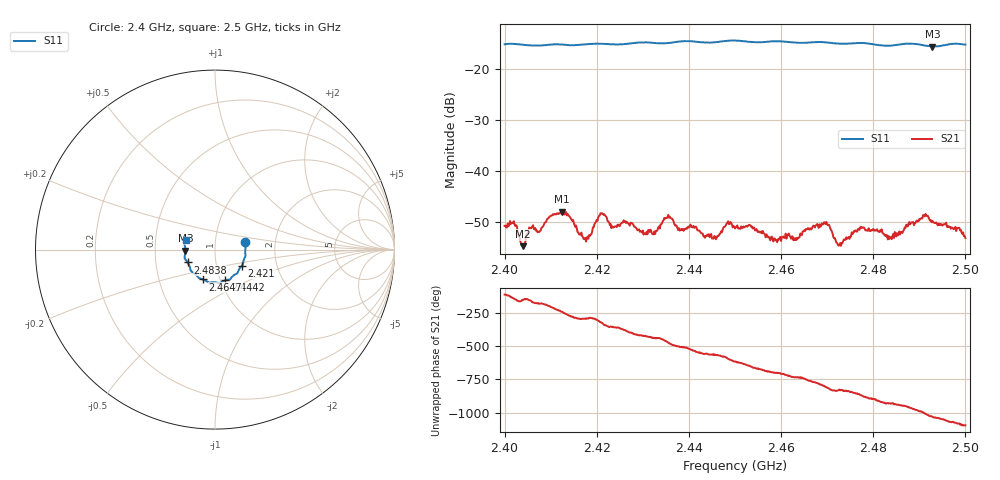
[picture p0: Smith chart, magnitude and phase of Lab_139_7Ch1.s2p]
# Hz S RI R 50
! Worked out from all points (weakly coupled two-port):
!   601 points, 2.4 GHz to 2.5 GHz, reference 50 ohm
!   highest |S21| = -48.05 dB at 2.4125 GHz (marker M1); lowest = -54.8 dB at 2.404 GHz (marker M2)
!   lowest |S11| = -15.6 dB at 2.4928 GHz (marker M3), VSWR 1.40, Z = 35.8 - j0.403 ohm
!   |S11| at or under -10 dB: start of sweep to end of sweep
!   S12 and S22 are empty: the file has one direction only
!   S11 on the Smith chart (normalised r, x): 2.4 GHz: 1.40, +0.12; 2.421 GHz: 1.33, -0.24; 2.4442 GHz: 1.05, -0.37; 2.4647 GHz: 0.83, -0.28; 2.4838 GHz: 0.73, -0.11; 2.5 GHz: 0.71, +0.08
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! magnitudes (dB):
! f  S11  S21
! 2.4 GHz  -15.2  -50.8
! 2.4022 GHz  -15.1  -50.6
! 2.404 GHz  -15.3  -54.8
! 2.4057 GHz  -15.4  -51.4
! 2.4125 GHz  -15.3  -48.1
! 2.4167 GHz  -15.3  -52.2
! 2.421 GHz  -15.1  -48.4
! 2.4237 GHz  -15.2  -51.1
! 2.4333 GHz  -15.0  -51.2
! 2.4358 GHz  -14.9  -49.0
! 2.4442 GHz  -14.9  -52.8
! 2.45 GHz  -14.5  -51.3
! 2.4587 GHz  -14.6  -53.4
! 2.4647 GHz  -14.9  -52.0
! 2.4667 GHz  -14.8  -51.4
! 2.4698 GHz  -14.8  -50.1
! 2.4725 GHz  -15.1  -54.7
! 2.4777 GHz  -15.0  -51.1
! 2.4833 GHz  -15.5  -52.8
! 2.4838 GHz  -15.5  -53.0
! 2.4928 GHz  -15.6  -49.8
! 2.5 GHz  -15.3  -53.2
